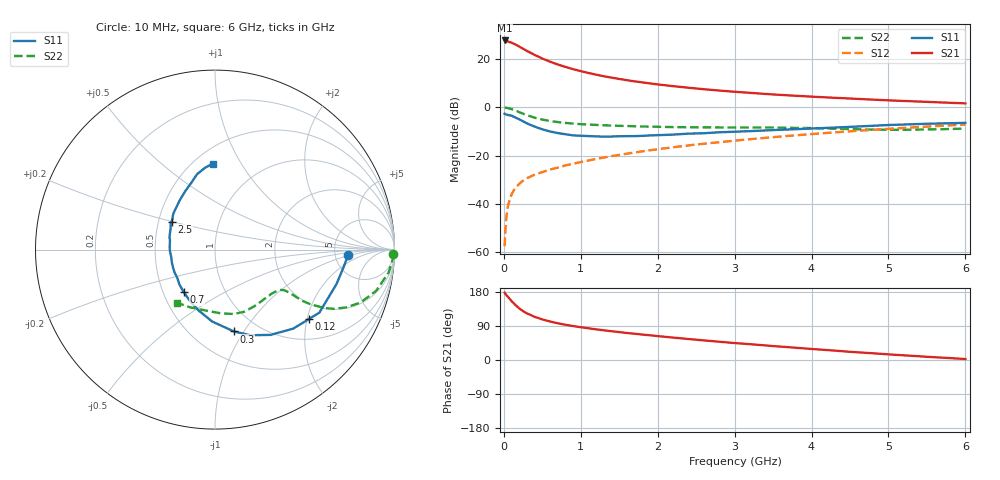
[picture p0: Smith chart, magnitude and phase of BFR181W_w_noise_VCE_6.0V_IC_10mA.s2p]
! Infineon Technologies  Discrete & RF Semiconductors
! BFR181W
! VCE =  6.0 V,  IC =  10 mA
! Common Emitter S-Parameters:  Jan 2017
# GHz  S  MA  R  50
!  f  S11  S21  S12  S22
! GHz  MAG  ANG  MAG  ANG  MAG  ANG  MAG  ANG
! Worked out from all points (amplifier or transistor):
!   77 points, 10 MHz to 6 GHz, reference 50 ohm
!   highest |S21| = 27.9 dB at 10 MHz (marker M1)
!   |S21| within 3 dB of that: start of sweep to 225.6 MHz
!   unconditionally stable (mu >= 1): 1.029 GHz to 2.984 GHz
!   at 130 MHz: K = 0.27, MSG = 30.5 dB, |S12| = -34.5 dB
!   at 2.2 GHz: K = 1.05, MAG = 11.3 dB, |S12| = -16.6 dB
!   at 6 GHz: K = 0.85, MSG = 4.4 dB, |S12| = -7.1 dB
!   lowest NFmin = 1.24 dB at 450 MHz
!   S11 on the Smith chart (normalised r, x): 10 MHz: 6.64, -0.88; 120 MHz: 1.53, -2.06; 300 MHz: 0.77, -0.90; 700 MHz: 0.64, -0.33; 2.5 GHz: 0.58, +0.20; 6 GHz: 0.61, +0.76
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0.01  0.7421 -2.3  24.84 177.6  0.0013 90.9  0.9933 -1.4
0.02  0.7237 -7.6  24.38 174.4  0.0028 94.5  0.9923 -2.9
0.05  0.7038 -15.8  23.86 167.3  0.0083 81.1  0.9755 -7.6
0.1  0.6794 -31.1  22.36 155.3  0.0154 77.2  0.9263 -14.4
0.12  0.6509 -36.4  21.56 151.5  0.0177 74.2  0.9005 -16.5
0.15  0.6199 -45.2  20.55 145.2  0.0213 70.9  0.8642 -19.9
0.2  0.5673 -56.9  18.53 136.2  0.0257 68.0  0.7999 -23.7
0.25  0.516 -67.6  16.73 128.9  0.03 64.0  0.7426 -26.4
0.3  0.468 -77.0  15.04 123.0  0.0336 62.6  0.6901 -28.1
0.4  0.4014 -92.2  12.44 113.8  0.04 61.7  0.6139 -29.8
0.5  0.3512 -105.1  10.45 107.1  0.0452 61.1  0.5612 -30.4
0.6  0.3172 -116.4  8.996 101.6  0.0512 62.1  0.5244 -30.3
0.7  0.2938 -126.4  7.865 97.0  0.0559 63.8  0.4971 -30.1
0.9  0.2625 -143.4  6.276 89.6  0.0674 64.7  0.4629 -30.2
1.1  0.254 -157.3  5.232 83.7  0.0788 66.2  0.4422 -30.7
1.5  0.2521 -179.1  3.925 73.7  0.1029 67.0  0.4152 -33.5
2.1  0.269 158.2  2.901 61.2  0.1419 66.5  0.3939 -41.3
2.5  0.2883 147.2  2.488 53.6  0.1692 65.2  0.3867 -48.0
3.1  0.3175 133.2  2.071 43.3  0.2114 62.4  0.3826 -58.3
4.1  0.3707 115.4  1.652 27.7  0.2876 56.0  0.3689 -76.1
5.1  0.4371 102.0  1.387 13.6  0.3673 47.8  0.3429 -101.2
6  0.4789 91.5  1.218 2.6  0.4418 39.4  0.3646 -126.0
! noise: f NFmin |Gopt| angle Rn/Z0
0.45  1.24  0.15  16  0.21
0.9  1.29  0.14  31  0.21
1.9  1.71  0.03  142  0.2
2.4  1.88  0.02  -166  0.24
